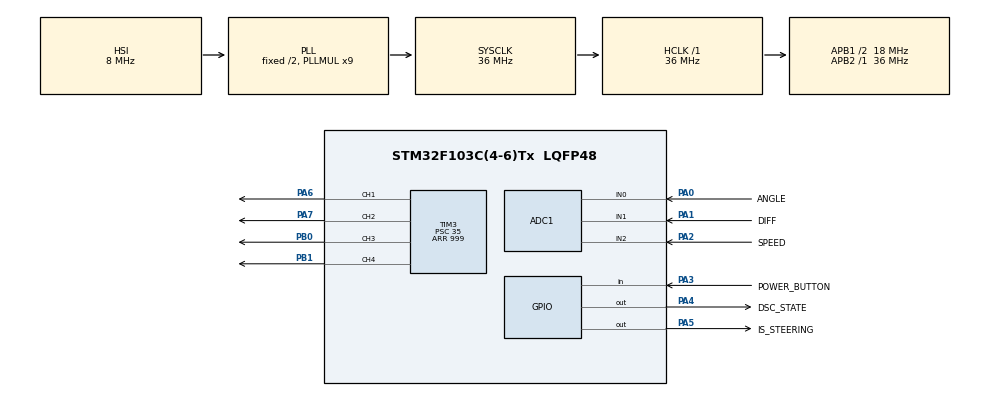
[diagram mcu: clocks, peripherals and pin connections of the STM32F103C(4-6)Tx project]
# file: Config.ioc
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ADC1.Channel-0\#ChannelRegularConversion=ADC_CHANNEL_0
ADC1.Channel-1\#ChannelRegularConversion=ADC_CHANNEL_1
ADC1.Channel-2\#ChannelRegularConversion=ADC_CHANNEL_2
ADC1.ContinuousConvMode=ENABLE
ADC1.NbrOfConversion=3
ADC1.NbrOfConversionFlag=1
ADC1.Rank-0\#ChannelRegularConversion=1
ADC1.Rank-1\#ChannelRegularConversion=2
ADC1.Rank-2\#ChannelRegularConversion=3
ADC1.SamplingTime-0\#ChannelRegularConversion=ADC_SAMPLETIME_28CYCLES_5
ADC1.SamplingTime-1\#ChannelRegularConversion=ADC_SAMPLETIME_71CYCLES_5
ADC1.SamplingTime-2\#ChannelRegularConversion=ADC_SAMPLETIME_239CYCLES_5
ADC1.master=1
Mcu.Family=STM32F1
Mcu.Name=STM32F103C(4-6)Tx
Mcu.Package=LQFP48
NVIC.PriorityGroup=NVIC_PRIORITYGROUP_4
PA0-WKUP.GPIO_Label=ANGLE
PA0-WKUP.Signal=ADCx_IN0
PA1.GPIO_Label=DIFF
PA1.Signal=ADCx_IN1
PA13.Mode=Serial_Wire
PA13.Signal=SYS_JTMS-SWDIO
PA14.Mode=Serial_Wire
PA14.Signal=SYS_JTCK-SWCLK
PA2.GPIO_Label=SPEED
PA2.Signal=ADCx_IN2
PA3.GPIO_Label=POWER_BUTTON
PA3.Signal=GPIO_Input
PA4.GPIO_Label=DSC_STATE
PA4.Signal=GPIO_Output
PA5.GPIO_Label=IS_STEERING
PA5.Signal=GPIO_Output
PA6.Signal=S_TIM3_CH1
PA7.Signal=S_TIM3_CH2
PB0.Signal=S_TIM3_CH3
PB1.Signal=S_TIM3_CH4
PD0-OSC_IN.Mode=HSE-External-Oscillator
PD0-OSC_IN.Signal=RCC_OSC_IN
PD1-OSC_OUT.Mode=HSE-External-Oscillator
PD1-OSC_OUT.Signal=RCC_OSC_OUT
ProjectManager.HeapSize=0x200
ProjectManager.StackSize=0x400
ProjectManager.TargetToolchain=MDK-ARM V5.32
RCC.ADCPresc=RCC_ADCPCLK2_DIV4
RCC.AHBFreq_Value=36000000
RCC.APB1CLKDivider=RCC_HCLK_DIV2
RCC.APB1Freq_Value=18000000
RCC.APB1TimFreq_Value=36000000
RCC.APB2Freq_Value=36000000
RCC.APB2TimFreq_Value=36000000
RCC.HCLKFreq_Value=36000000
RCC.PLLMUL=RCC_PLL_MUL9
RCC.SYSCLKFreq_VALUE=36000000
RCC.SYSCLKSource=RCC_SYSCLKSOURCE_PLLCLK
RCC.USBFreq_Value=36000000
SH.ADCx_IN0.0=ADC1_IN0,IN0
SH.ADCx_IN1.0=ADC1_IN1,IN1
SH.ADCx_IN2.0=ADC1_IN2,IN2
SH.S_TIM3_CH1.0=TIM3_CH1,PWM Generation1 CH1
SH.S_TIM3_CH2.0=TIM3_CH2,PWM Generation2 CH2
SH.S_TIM3_CH3.0=TIM3_CH3,PWM Generation3 CH3
SH.S_TIM3_CH4.0=TIM3_CH4,PWM Generation4 CH4
TIM3.Channel-PWM\ Generation1\ CH1=TIM_CHANNEL_1
TIM3.Channel-PWM\ Generation2\ CH2=TIM_CHANNEL_2
TIM3.Channel-PWM\ Generation3\ CH3=TIM_CHANNEL_3
TIM3.Channel-PWM\ Generation4\ CH4=TIM_CHANNEL_4
TIM3.Period=999
TIM3.Prescaler=35
VP_TIM3_VS_ClockSourceINT.Mode=Internal
board=custom

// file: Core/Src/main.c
/* USER CODE BEGIN Header */
/**
  ******************************************************************************
  * @file           : main.c
  * @brief          : Main program body
  ******************************************************************************
  * @attention
  *
  * Copyright (c) 2022 STMicroelectronics.
  * All rights reserved.
  *
  * This software is licensed under terms that can be found in the LICENSE file
  * in the root directory of this software component.
  * If no LICENSE file comes with this software, it is provided AS-IS.
  *
  ******************************************************************************
  */
/* USER CODE END Header */
#include "main.h"
#include "lcd_16x2.h"

 ADC_HandleTypeDef hadc1;

TIM_HandleTypeDef htim3;

void SystemClock_Config(void);
static void MX_GPIO_Init(void);
static void MX_ADC1_Init(void);
static void MX_TIM3_Init(void);

/* USER CODE BEGIN 0 */
void ADC_Select_CH0() {
	ADC_ChannelConfTypeDef sConfig = {0};
	sConfig.Channel = ADC_CHANNEL_0;
  sConfig.Rank = ADC_REGULAR_RANK_1;
  sConfig.SamplingTime = ADC_SAMPLETIME_28CYCLES_5;
  if (HAL_ADC_ConfigChannel(&hadc1, &sConfig) != HAL_OK)
  {
    Error_Handler();
  }
}

void ADC_Select_CH1() {
	ADC_ChannelConfTypeDef sConfig = {0};
	sConfig.Channel = ADC_CHANNEL_1;
  sConfig.Rank = ADC_REGULAR_RANK_1;
  sConfig.SamplingTime = ADC_SAMPLETIME_71CYCLES_5;
  if (HAL_ADC_ConfigChannel(&hadc1, &sConfig) != HAL_OK)
  {
    Error_Handler();
  }
}

void ADC_Select_CH2() {
	ADC_ChannelConfTypeDef sConfig = {0};
	sConfig.Channel = ADC_CHANNEL_2;
  sConfig.Rank = ADC_REGULAR_RANK_1;
  sConfig.SamplingTime = ADC_SAMPLETIME_239CYCLES_5;
  if (HAL_ADC_ConfigChannel(&hadc1, &sConfig) != HAL_OK)
  {
    Error_Handler();
  }
}
/* USER CODE END 0 */

int main(void)
{
  /* USER CODE BEGIN 1 */
	int32_t ANGLE, DIFF, SPEED;
	uint8_t DSC_STATE;
	int ACTIVE_SPEED = 400;
	int ACTIVE_DIFF = 100;
  /* USER CODE END 1 */

  /* MCU Configuration--------------------------------------------------------*/

  /* Reset of all peripherals, Initializes the Flash interface and the Systick. */
  HAL_Init();

  /* USER CODE BEGIN Init */
	Lcd_Init();
  /* USER CODE END Init */

  /* Configure the system clock */
  SystemClock_Config();

  /* Initialize all configured peripherals */
  MX_GPIO_Init();
  MX_ADC1_Init();
  MX_TIM3_Init();
  /* USER CODE BEGIN 2 */
	HAL_GPIO_WritePin(DSC_STATE_GPIO_Port, DSC_STATE_Pin, 1);
	HAL_GPIO_WritePin(IS_STEERING_GPIO_Port, IS_STEERING_Pin, 1);
	HAL_TIM_PWM_Start(&htim3, TIM_CHANNEL_1); //FL
	HAL_TIM_PWM_Start(&htim3, TIM_CHANNEL_2); //FR
	HAL_TIM_PWM_Start(&htim3, TIM_CHANNEL_3); //RL
	HAL_TIM_PWM_Start(&htim3, TIM_CHANNEL_4); //RR

	htim3.Instance->CCR1 = 100;
	HAL_Delay(10);
	htim3.Instance->CCR2 = 100;
	HAL_Delay(10);
	htim3.Instance->CCR3 = 100;
	HAL_Delay(10);
	htim3.Instance->CCR4 = 100;
	HAL_Delay(10);

	Lcd_write_string("DSC System");
  /* USER CODE END 2 */

  /* Infinite loop */
  while (1)
  {

    /* USER CODE BEGIN 3 */
//		if (HAL_GPIO_ReadPin(DSC_STATE_GPIO_Port, DSC_STATE_Pin) == 0) {
//			while (HAL_GPIO_ReadPin(DSC_STATE_GPIO_Port, DSC_STATE_Pin) == 0) {}
//			DSC_STATE =~ DSC_STATE;
//		}
		HAL_GPIO_WritePin(DSC_STATE_GPIO_Port, DSC_STATE_Pin, 0);
		ADC_Select_CH0();
		HAL_ADC_Start(&hadc1);
		HAL_ADC_PollForConversion(&hadc1, 1000);
		ANGLE = HAL_ADC_GetValue(&hadc1);
		HAL_ADC_Stop(&hadc1);

		ADC_Select_CH1();
		HAL_ADC_Start(&hadc1);
		HAL_ADC_PollForConversion(&hadc1, 1000);
		DIFF = HAL_ADC_GetValue(&hadc1);
		HAL_ADC_Stop(&hadc1);

		ADC_Select_CH2();
		HAL_ADC_Start(&hadc1);
		HAL_ADC_PollForConversion(&hadc1, 1000);
		SPEED = HAL_ADC_GetValue(&hadc1);
		HAL_ADC_Stop(&hadc1);

		if (SPEED > ACTIVE_SPEED) {
			if (ANGLE > 2048) {
				if (DIFF > 2048 + ACTIVE_DIFF) {
					HAL_GPIO_WritePin(IS_STEERING_GPIO_Port, IS_STEERING_Pin, 0);
					htim3.Instance->CCR1 = 100;
					HAL_Delay(10);
					htim3.Instance->CCR3 = 100;
					HAL_Delay(10);
					htim3.Instance->CCR4 = 100;
					HAL_Delay(10);
					htim3.Instance->CCR2 = 700;
					HAL_Delay(10);
				}
				else if (DIFF < 2048 + ACTIVE_DIFF) {
					HAL_GPIO_WritePin(IS_STEERING_GPIO_Port, IS_STEERING_Pin, 0);
					htim3.Instance->CCR1 = 100;
					HAL_Delay(10);
					htim3.Instance->CCR2 = 100;
					HAL_Delay(10);
					htim3.Instance->CCR3 = 100;
					HAL_Delay(10);
					htim3.Instance->CCR4 = 700;
					HAL_Delay(10);
				}
				else {
					HAL_GPIO_WritePin(IS_STEERING_GPIO_Port, IS_STEERING_Pin, 1);
					htim3.Instance->CCR1 = 100;
					HAL_Delay(10);
					htim3.Instance->CCR2 = 100;
					HAL_Delay(10);
					htim3.Instance->CCR3 = 100;
					HAL_Delay(10);
					htim3.Instance->CCR4 = 100;
					HAL_Delay(10);
				}
			}
			else if (ANGLE < 2048) {
				if (DIFF > 2048 + ACTIVE_DIFF) {
					HAL_GPIO_WritePin(IS_STEERING_GPIO_Port, IS_STEERING_Pin, 0);
					htim3.Instance->CCR1 = 700;
					HAL_Delay(10);
					htim3.Instance->CCR2 = 100;
					HAL_Delay(10);
					htim3.Instance->CCR3 = 100;
					HAL_Delay(10);
					htim3.Instance->CCR4 = 100;
					HAL_Delay(10);
				}
				else if (DIFF < 2048 + ACTIVE_DIFF) {
					HAL_GPIO_WritePin(IS_STEERING_GPIO_Port, IS_STEERING_Pin, 0);
					htim3.Instance->CCR3 = 700;
					HAL_Delay(10);
					htim3.Instance->CCR1 = 100;
					HAL_Delay(10);
					htim3.Instance->CCR2 = 100;
					HAL_Delay(10);
					htim3.Instance->CCR4 = 100;
					HAL_Delay(10);
				}
				else {
					HAL_GPIO_WritePin(IS_STEERING_GPIO_Port, IS_STEERING_Pin, 1);
					htim3.Instance->CCR1 = 100;
					HAL_Delay(10);
					htim3.Instance->CCR2 = 100;
					HAL_Delay(10);
					htim3.Instance->CCR3 = 100;
					HAL_Delay(10);
					htim3.Instance->CCR4 = 100;
					HAL_Delay(10);
				}
			}
		}
		else if (SPEED <= ACTIVE_SPEED) {
			HAL_GPIO_WritePin(IS_STEERING_GPIO_Port, IS_STEERING_Pin, 1);
			htim3.Instance->CCR1 = 100;
			HAL_Delay(10);
			htim3.Instance->CCR2 = 100;
			HAL_Delay(10);
			htim3.Instance->CCR3 = 100;
			HAL_Delay(10);
			htim3.Instance->CCR4 = 100;
			HAL_Delay(10);
		}
  }
  /* USER CODE END 3 */
}

void SystemClock_Config(void)
{
  RCC_OscInitTypeDef RCC_OscInitStruct = {0};
  RCC_ClkInitTypeDef RCC_ClkInitStruct = {0};
  RCC_PeriphCLKInitTypeDef PeriphClkInit = {0};

  /** Initializes the RCC Oscillators according to the specified parameters
  * in the RCC_OscInitTypeDef structure.
  */
  RCC_OscInitStruct.OscillatorType = RCC_OSCILLATORTYPE_HSI;
  RCC_OscInitStruct.HSIState = RCC_HSI_ON;
  RCC_OscInitStruct.HSICalibrationValue = RCC_HSICALIBRATION_DEFAULT;
  RCC_OscInitStruct.PLL.PLLState = RCC_PLL_ON;
  RCC_OscInitStruct.PLL.PLLSource = RCC_PLLSOURCE_HSI_DIV2;
  RCC_OscInitStruct.PLL.PLLMUL = RCC_PLL_MUL9;
  if (HAL_RCC_OscConfig(&RCC_OscInitStruct) != HAL_OK)
  {
    Error_Handler();
  }

  /** Initializes the CPU, AHB and APB buses clocks
  */
  RCC_ClkInitStruct.ClockType = RCC_CLOCKTYPE_HCLK|RCC_CLOCKTYPE_SYSCLK
                              |RCC_CLOCKTYPE_PCLK1|RCC_CLOCKTYPE_PCLK2;
  RCC_ClkInitStruct.SYSCLKSource = RCC_SYSCLKSOURCE_PLLCLK;
  RCC_ClkInitStruct.AHBCLKDivider = RCC_SYSCLK_DIV1;
  RCC_ClkInitStruct.APB1CLKDivider = RCC_HCLK_DIV2;
  RCC_ClkInitStruct.APB2CLKDivider = RCC_HCLK_DIV1;

  if (HAL_RCC_ClockConfig(&RCC_ClkInitStruct, FLASH_LATENCY_1) != HAL_OK)
  {
    Error_Handler();
  }
  PeriphClkInit.PeriphClockSelection = RCC_PERIPHCLK_ADC;
  PeriphClkInit.AdcClockSelection = RCC_ADCPCLK2_DIV4;
  if (HAL_RCCEx_PeriphCLKConfig(&PeriphClkInit) != HAL_OK)
  {
    Error_Handler();
  }
}

static void MX_ADC1_Init(void)
{

  ADC_ChannelConfTypeDef sConfig = {0};

  /** Common config
  */
  hadc1.Instance = ADC1;
  hadc1.Init.ScanConvMode = ADC_SCAN_ENABLE;
  hadc1.Init.ContinuousConvMode = ENABLE;
  hadc1.Init.DiscontinuousConvMode = DISABLE;
  hadc1.Init.ExternalTrigConv = ADC_SOFTWARE_START;
  hadc1.Init.DataAlign = ADC_DATAALIGN_RIGHT;
  hadc1.Init.NbrOfConversion = 1;
  if (HAL_ADC_Init(&hadc1) != HAL_OK)
  {
    Error_Handler();
  }

  /** Configure Regular Channel
  */
//  sConfig.Channel = ADC_CHANNEL_0;
//  sConfig.Rank = ADC_REGULAR_RANK_1;
//  sConfig.SamplingTime = ADC_SAMPLETIME_28CYCLES_5;
//  if (HAL_ADC_ConfigChannel(&hadc1, &sConfig) != HAL_OK)
//  {
//    Error_Handler();
//  }

//  /** Configure Regular Channel
//  */
//  sConfig.Channel = ADC_CHANNEL_1;
//  sConfig.Rank = ADC_REGULAR_RANK_2;
//  sConfig.SamplingTime = ADC_SAMPLETIME_71CYCLES_5;
//  if (HAL_ADC_ConfigChannel(&hadc1, &sConfig) != HAL_OK)
//  {
//    Error_Handler();
//  }

//  /** Configure Regular Channel
//  */
//  sConfig.Channel = ADC_CHANNEL_2;
//  sConfig.Rank = ADC_REGULAR_RANK_3;
//  sConfig.SamplingTime = ADC_SAMPLETIME_239CYCLES_5;
//  if (HAL_ADC_ConfigChannel(&hadc1, &sConfig) != HAL_OK)
//  {
//    Error_Handler();
//  }

}

static void MX_TIM3_Init(void)
{

  TIM_ClockConfigTypeDef sClockSourceConfig = {0};
  TIM_MasterConfigTypeDef sMasterConfig = {0};
  TIM_OC_InitTypeDef sConfigOC = {0};

  htim3.Instance = TIM3;
  htim3.Init.Prescaler = 35;
  htim3.Init.CounterMode = TIM_COUNTERMODE_UP;
  htim3.Init.Period = 999;
  htim3.Init.ClockDivision = TIM_CLOCKDIVISION_DIV1;
  htim3.Init.AutoReloadPreload = TIM_AUTORELOAD_PRELOAD_DISABLE;
  if (HAL_TIM_Base_Init(&htim3) != HAL_OK)
  {
    Error_Handler();
  }
  sClockSourceConfig.ClockSource = TIM_CLOCKSOURCE_INTERNAL;
  if (HAL_TIM_ConfigClockSource(&htim3, &sClockSourceConfig) != HAL_OK)
  {
    Error_Handler();
  }
  if (HAL_TIM_PWM_Init(&htim3) != HAL_OK)
  {
    Error_Handler();
  }
  sMasterConfig.MasterOutputTrigger = TIM_TRGO_RESET;
  sMasterConfig.MasterSlaveMode = TIM_MASTERSLAVEMODE_DISABLE;
  if (HAL_TIMEx_MasterConfigSynchronization(&htim3, &sMasterConfig) != HAL_OK)
  {
    Error_Handler();
  }
  sConfigOC.OCMode = TIM_OCMODE_PWM1;
  sConfigOC.Pulse = 0;
  sConfigOC.OCPolarity = TIM_OCPOLARITY_HIGH;
  sConfigOC.OCFastMode = TIM_OCFAST_DISABLE;
  if (HAL_TIM_PWM_ConfigChannel(&htim3, &sConfigOC, TIM_CHANNEL_1) != HAL_OK)
  {
    Error_Handler();
  }
  if (HAL_TIM_PWM_ConfigChannel(&htim3, &sConfigOC, TIM_CHANNEL_2) != HAL_OK)
  {
    Error_Handler();
  }
  if (HAL_TIM_PWM_ConfigChannel(&htim3, &sConfigOC, TIM_CHANNEL_3) != HAL_OK)
  {
    Error_Handler();
  }
  if (HAL_TIM_PWM_ConfigChannel(&htim3, &sConfigOC, TIM_CHANNEL_4) != HAL_OK)
  {
    Error_Handler();
  }
  HAL_TIM_MspPostInit(&htim3);

}

static void MX_GPIO_Init(void)
{
  GPIO_InitTypeDef GPIO_InitStruct = {0};

  /* GPIO Ports Clock Enable */
  __HAL_RCC_GPIOD_CLK_ENABLE();
  __HAL_RCC_GPIOA_CLK_ENABLE();
  __HAL_RCC_GPIOB_CLK_ENABLE();

  /*Configure GPIO pin Output Level */
  HAL_GPIO_WritePin(GPIOA, DSC_STATE_Pin|IS_STEERING_Pin, GPIO_PIN_RESET);

  /*Configure GPIO pin : POWER_BUTTON_Pin */
  GPIO_InitStruct.Pin = POWER_BUTTON_Pin;
  GPIO_InitStruct.Mode = GPIO_MODE_INPUT;
  GPIO_InitStruct.Pull = GPIO_NOPULL;
  HAL_GPIO_Init(POWER_BUTTON_GPIO_Port, &GPIO_InitStruct);

  /*Configure GPIO pins : DSC_STATE_Pin IS_STEERING_Pin */
  GPIO_InitStruct.Pin = DSC_STATE_Pin|IS_STEERING_Pin;
  GPIO_InitStruct.Mode = GPIO_MODE_OUTPUT_PP;
  GPIO_InitStruct.Pull = GPIO_NOPULL;
  GPIO_InitStruct.Speed = GPIO_SPEED_FREQ_LOW;
  HAL_GPIO_Init(GPIOA, &GPIO_InitStruct);

}

void Error_Handler(void)
{
  __disable_irq();
  while (1)
  {
  }
}
